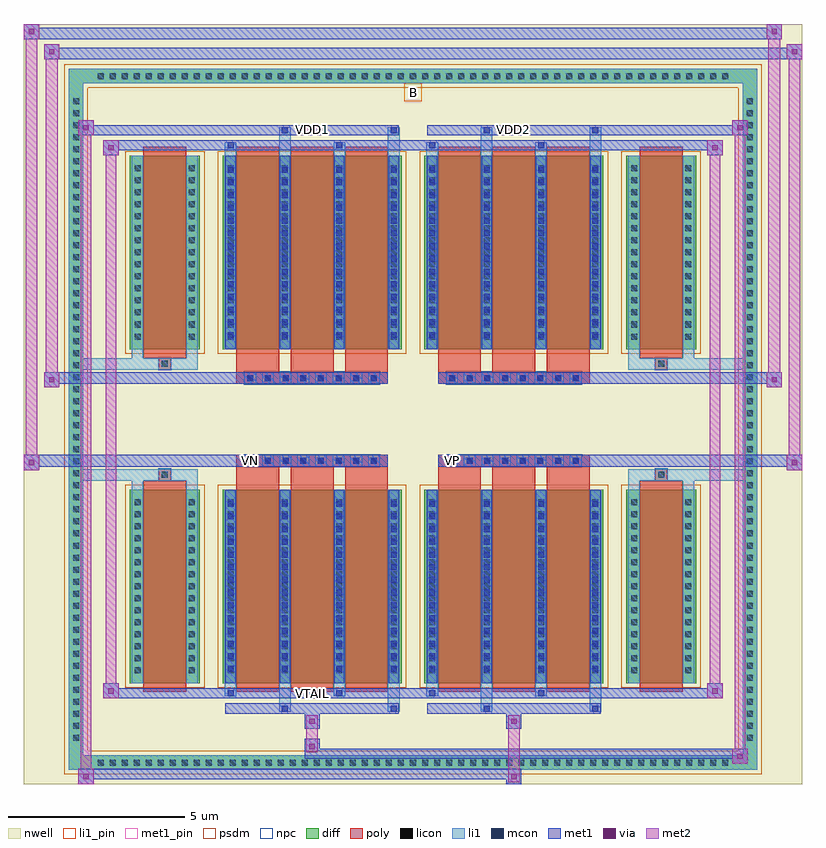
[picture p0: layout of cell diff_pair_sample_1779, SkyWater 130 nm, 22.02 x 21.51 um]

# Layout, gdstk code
import gdstk
lib = gdstk.Library(unit=1e-6, precision=5e-09)
def R(c, l, rs):  # rectangles x0, y0, x1, y1
    for r in rs: c.add(gdstk.rectangle(r[:2], r[2:], *l))
def A(c, l, x, y, w, h, nx, ny, dx, dy):  # array of equal rectangles
    R(c, l, [(x+i*dx, y+j*dy, x+i*dx+w, y+j*dy+h) for i in range(nx) for j in range(ny)])
def P(c, l, *ps):  # polygons
    for p in ps: c.add(gdstk.Polygon(p, *l))
nwell = (64, 20)
diff = (65, 20)
poly = (66, 20)
licon = (66, 44)
li1_pin = (67, 16)
li1 = (67, 20)
mcon = (67, 44)
met1_pin = (68, 16)
met1 = (68, 20)
via = (68, 44)
met2 = (69, 20)
psdm = (94, 20)
npc = (95, 20)

diff_pair_sample_1779 = lib.new_cell('diff_pair_sample_1779')
R(diff_pair_sample_1779, nwell, [(-11.01,-10.32,11.01,11.19), (-8.33,-8.51,-0.01,-0.805), (0.01,-8.51,8.33,-0.805), (-8.33,0.805,-0.01,8.51), (0.01,0.805,8.33,8.51)])
A(diff_pair_sample_1779, diff, -9.045, -9.92, 0.41, 0.41, 53, 2, 0.34, 19.43)
A(diff_pair_sample_1779, diff, -9.74, -9.215, 0.41, 0.41, 1, 54, 0, 0.34)
A(diff_pair_sample_1779, diff, 9.33, -9.215, 0.41, 0.41, 1, 54, 0, 0.34)
R(diff_pair_sample_1779, diff, [(-9.045,-9.92,9.045,-9.51), (-9.74,-9.215,-9.33,9.215), (9.33,-9.215,9.74,9.215), (-8.02,-7.465,-6.03,-1.985), (-5.39,-7.465,-0.32,-1.985), (0.32,-7.465,5.39,-1.985), (6.03,-7.465,8.02,-1.985), (-8.02,1.985,-6.03,7.465), (-5.39,1.985,-0.32,7.465), (0.32,1.985,5.39,7.465), (6.03,1.985,8.02,7.465), (-9.045,9.51,9.045,9.92)])
P(diff_pair_sample_1779, diff, [(9.74,9.92),(-9.74,9.92),(-9.74,-9.51),(-9.33,-9.51),(-9.33,9.51),(9.33,9.51),(9.33,-9.51),(-9.33,-9.51),(-9.74,-9.51),(-9.74,-9.92),(9.74,-9.92)])
A(diff_pair_sample_1779, poly, -5, -7.715, 1.21, 5.98, 3, 2, 1.54, 9.45)
A(diff_pair_sample_1779, poly, 0.71, -7.715, 1.21, 5.98, 3, 2, 1.54, 9.45)
A(diff_pair_sample_1779, poly, -5, -1.735, 1.21, 0.4, 3, 2, 1.54, 3.07)
A(diff_pair_sample_1779, poly, 0.71, -1.735, 1.21, 0.4, 3, 2, 1.54, 3.07)
A(diff_pair_sample_1779, poly, -4.77, -1.335, 0.33, 0.33, 8, 2, 0.5, 2.34)
A(diff_pair_sample_1779, poly, 0.94, -1.335, 0.33, 0.33, 8, 2, 0.5, 2.34)
R(diff_pair_sample_1779, poly, [(-7.63,-7.715,-6.42,-1.735), (6.42,-7.715,7.63,-1.735), (-7.19,-1.735,-6.86,-1.405), (-7.19,-1.735,-6.86,-1.405), (6.86,-1.735,7.19,-1.405), (6.86,-1.735,7.19,-1.405), (-5,-1.335,-0.71,-1.005), (0.71,-1.335,5,-1.005), (-5,1.005,-0.71,1.335), (0.71,1.005,5,1.335), (-7.19,1.405,-6.86,1.735), (-7.19,1.405,-6.86,1.735), (6.86,1.405,7.19,1.735), (6.86,1.405,7.19,1.735), (-7.63,1.735,-6.42,7.715), (6.42,1.735,7.63,7.715)])
A(diff_pair_sample_1779, licon, -8.925, -9.8, 0.17, 0.17, 53, 2, 0.34, 19.43)
A(diff_pair_sample_1779, licon, -9.62, -9.095, 0.17, 0.17, 1, 54, 0, 0.34)
A(diff_pair_sample_1779, licon, 9.45, -9.095, 0.17, 0.17, 1, 54, 0, 0.34)
A(diff_pair_sample_1779, licon, -7.88, -7.19, 0.17, 0.17, 1, 15, 0, 0.34)
A(diff_pair_sample_1779, licon, -6.34, -7.19, 0.17, 0.17, 1, 15, 0, 0.34)
A(diff_pair_sample_1779, licon, -5.25, -7.19, 0.17, 0.17, 4, 15, 1.54, 0.34)
A(diff_pair_sample_1779, licon, 0.46, -7.19, 0.17, 0.17, 4, 15, 1.54, 0.34)
A(diff_pair_sample_1779, licon, 6.17, -7.19, 0.17, 0.17, 1, 15, 0, 0.34)
A(diff_pair_sample_1779, licon, 7.71, -7.19, 0.17, 0.17, 1, 15, 0, 0.34)
A(diff_pair_sample_1779, licon, -4.69, -1.255, 0.17, 0.17, 8, 2, 0.5, 2.34)
A(diff_pair_sample_1779, licon, 1.02, -1.255, 0.17, 0.17, 8, 2, 0.5, 2.34)
A(diff_pair_sample_1779, licon, -7.88, 2.26, 0.17, 0.17, 1, 15, 0, 0.34)
A(diff_pair_sample_1779, licon, -6.34, 2.26, 0.17, 0.17, 1, 15, 0, 0.34)
A(diff_pair_sample_1779, licon, -5.25, 2.26, 0.17, 0.17, 4, 15, 1.54, 0.34)
A(diff_pair_sample_1779, licon, 0.46, 2.26, 0.17, 0.17, 4, 15, 1.54, 0.34)
A(diff_pair_sample_1779, licon, 6.17, 2.26, 0.17, 0.17, 1, 15, 0, 0.34)
A(diff_pair_sample_1779, licon, 7.71, 2.26, 0.17, 0.17, 1, 15, 0, 0.34)
R(diff_pair_sample_1779, licon, [(-7.11,-1.655,-6.94,-1.485), (6.94,-1.655,7.11,-1.485), (-7.11,1.485,-6.94,1.655), (6.94,1.485,7.11,1.655)])
R(diff_pair_sample_1779, li1_pin, [(-0.25,9.01,0.25,9.51)])
A(diff_pair_sample_1779, li1, -9.005, -9.88, 0.33, 0.33, 53, 2, 0.34, 19.43)
A(diff_pair_sample_1779, li1, -9.7, -9.175, 0.33, 0.33, 1, 54, 0, 0.34)
A(diff_pair_sample_1779, li1, 9.37, -9.175, 0.33, 0.33, 1, 54, 0, 0.34)
A(diff_pair_sample_1779, li1, -5.33, -7.465, 0.33, 5.48, 4, 2, 1.54, 9.45)
A(diff_pair_sample_1779, li1, 0.38, -7.465, 0.33, 5.48, 4, 2, 1.54, 9.45)
A(diff_pair_sample_1779, li1, -7.96, -7.27, 0.33, 0.33, 1, 15, 0, 0.34)
A(diff_pair_sample_1779, li1, -6.42, -7.27, 0.33, 0.33, 1, 15, 0, 0.34)
A(diff_pair_sample_1779, li1, -5.33, -7.27, 0.33, 0.33, 4, 15, 1.54, 0.34)
A(diff_pair_sample_1779, li1, 0.38, -7.27, 0.33, 0.33, 4, 15, 1.54, 0.34)
A(diff_pair_sample_1779, li1, 6.09, -7.27, 0.33, 0.33, 1, 15, 0, 0.34)
A(diff_pair_sample_1779, li1, 7.63, -7.27, 0.33, 0.33, 1, 15, 0, 0.34)
A(diff_pair_sample_1779, li1, -5.25, -7.15, 0.17, 0.17, 4, 14, 1.54, 0.36)
A(diff_pair_sample_1779, li1, -5.25, -7.15, 0.17, 4.85, 4, 2, 1.54, 9.45)
A(diff_pair_sample_1779, li1, 0.46, -7.15, 0.17, 0.17, 4, 14, 1.54, 0.36)
A(diff_pair_sample_1779, li1, 0.46, -7.15, 0.17, 4.85, 4, 2, 1.54, 9.45)
A(diff_pair_sample_1779, li1, -4.77, -1.335, 0.33, 0.33, 8, 2, 0.5, 2.34)
A(diff_pair_sample_1779, li1, 0.94, -1.335, 0.33, 0.33, 8, 2, 0.5, 2.34)
A(diff_pair_sample_1779, li1, -7.96, 2.18, 0.33, 0.33, 1, 15, 0, 0.34)
A(diff_pair_sample_1779, li1, -6.42, 2.18, 0.33, 0.33, 1, 15, 0, 0.34)
A(diff_pair_sample_1779, li1, -5.33, 2.18, 0.33, 0.33, 4, 15, 1.54, 0.34)
A(diff_pair_sample_1779, li1, 0.38, 2.18, 0.33, 0.33, 4, 15, 1.54, 0.34)
A(diff_pair_sample_1779, li1, 6.09, 2.18, 0.33, 0.33, 1, 15, 0, 0.34)
A(diff_pair_sample_1779, li1, 7.63, 2.18, 0.33, 0.33, 1, 15, 0, 0.34)
A(diff_pair_sample_1779, li1, -5.25, 2.3, 0.17, 0.17, 4, 14, 1.54, 0.36)
A(diff_pair_sample_1779, li1, 0.46, 2.3, 0.17, 0.17, 4, 14, 1.54, 0.36)
R(diff_pair_sample_1779, li1, [(-9.74,-9.92,-9.33,-9.51), (-9.74,-9.92,-9.33,-9.51), (-9.33,-9.92,9.33,-9.51), (9.33,-9.92,9.74,-9.51), (9.33,-9.92,9.74,-9.51), (-9.74,-9.51,-9.33,9.51), (9.33,-9.51,9.74,9.51), (-3.79,-8.27,-3.46,-7.465), (-3.71,-8.27,-3.54,-8.1), (-0.71,-8.27,-0.38,-7.465), (-0.63,-8.27,-0.46,-8.1), (1.92,-8.27,2.25,-7.465), (2,-8.27,2.17,-8.1), (5,-8.27,5.33,-7.465), (5.08,-8.27,5.25,-8.1), (-5.33,-7.84,-5,-7.465), (-5.25,-7.84,-5.08,-7.67), (-2.25,-7.84,-1.92,-7.465), (-2.17,-7.84,-2,-7.67), (0.38,-7.84,0.71,-7.465), (0.46,-7.84,0.63,-7.67), (3.46,-7.84,3.79,-7.465), (3.54,-7.84,3.71,-7.67), (-7.96,-7.465,-7.63,-1.985), (-6.42,-7.465,-6.09,-1.985), (6.09,-7.465,6.42,-1.985), (7.63,-7.465,7.96,-1.985), (-7.96,-1.985,-7.63,-1.405), (-6.42,-1.985,-6.09,-1.405), (6.09,-1.985,6.42,-1.405), (7.63,-1.985,7.96,-1.405), (-9.74,-1.735,-7.19,-1.405), (-7.96,-1.735,-7.19,-1.405), (-7.19,-1.735,-6.86,-1.405), (-6.86,-1.735,-6.09,-1.405), (6.09,-1.735,6.86,-1.405), (6.86,-1.735,7.19,-1.405), (6.86,-1.735,9.74,-1.405), (7.19,-1.735,7.96,-1.405), (-9.74,1.405,-7.19,1.735), (-7.96,1.405,-7.19,1.735), (-7.96,1.405,-7.63,1.985), (-7.19,1.405,-6.86,1.735), (-6.86,1.405,-6.09,1.735), (-6.42,1.405,-6.09,1.985), (6.09,1.405,6.86,1.735), (6.09,1.405,6.42,1.985), (6.86,1.405,7.19,1.735), (6.86,1.405,9.74,1.735), (7.19,1.405,7.96,1.735), (7.63,1.405,7.96,1.985), (-7.96,1.985,-7.63,7.465), (-6.42,1.985,-6.09,7.465), (6.09,1.985,6.42,7.465), (7.63,1.985,7.96,7.465), (-5.33,7.465,-5,7.84), (-3.79,7.465,-3.46,8.27), (-2.25,7.465,-1.92,7.84), (-0.71,7.465,-0.38,8.27), (0.38,7.465,0.71,7.84), (1.92,7.465,2.25,8.27), (3.46,7.465,3.79,7.84), (5,7.465,5.33,8.27), (-5.25,7.67,-5.08,7.84), (-2.17,7.67,-2,7.84), (0.46,7.67,0.63,7.84), (3.54,7.67,3.71,7.84), (-3.71,8.1,-3.54,8.27), (-0.63,8.1,-0.46,8.27), (2,8.1,2.17,8.27), (5.08,8.1,5.25,8.27), (-9.74,9.51,-9.33,9.92), (-9.74,9.51,-9.33,9.92), (-9.33,9.51,9.33,9.92), (9.33,9.51,9.74,9.92), (9.33,9.51,9.74,9.92)])
A(diff_pair_sample_1779, mcon, -5.25, -7.15, 0.17, 0.17, 4, 14, 1.54, 0.36)
A(diff_pair_sample_1779, mcon, 0.46, -7.15, 0.17, 0.17, 4, 14, 1.54, 0.36)
A(diff_pair_sample_1779, mcon, -4.69, -1.255, 0.17, 0.17, 8, 2, 0.5, 2.34)
A(diff_pair_sample_1779, mcon, 1.02, -1.255, 0.17, 0.17, 8, 2, 0.5, 2.34)
A(diff_pair_sample_1779, mcon, -5.25, 2.3, 0.17, 0.17, 4, 14, 1.54, 0.36)
A(diff_pair_sample_1779, mcon, 0.46, 2.3, 0.17, 0.17, 4, 14, 1.54, 0.36)
R(diff_pair_sample_1779, mcon, [(-3.71,-8.27,-3.54,-8.1), (-0.63,-8.27,-0.46,-8.1), (2,-8.27,2.17,-8.1), (5.08,-8.27,5.25,-8.1), (-5.25,-7.84,-5.08,-7.67), (-2.17,-7.84,-2,-7.67), (0.46,-7.84,0.63,-7.67), (3.54,-7.84,3.71,-7.67), (-5.25,7.67,-5.08,7.84), (-2.17,7.67,-2,7.84), (0.46,7.67,0.63,7.84), (3.54,7.67,3.71,7.84), (-3.71,8.1,-3.54,8.27), (-0.63,8.1,-0.46,8.27), (2,8.1,2.17,8.27), (5.08,8.1,5.25,8.27)])
R(diff_pair_sample_1779, met1_pin, [(-2.99,-7.88,-2.72,-7.61), (-4.74,-1.295,-4.47,-1.025), (0.97,-1.295,1.24,-1.025), (-2.99,8.06,-2.72,8.33), (2.72,8.06,2.99,8.33)])
A(diff_pair_sample_1779, met1, -5.31, -7.465, 0.29, 5.48, 4, 2, 1.54, 9.45)
A(diff_pair_sample_1779, met1, 0.4, -7.465, 0.29, 5.48, 4, 2, 1.54, 9.45)
A(diff_pair_sample_1779, met1, -5.31, -7.21, 0.29, 0.29, 4, 14, 1.54, 0.36)
A(diff_pair_sample_1779, met1, 0.4, -7.21, 0.29, 0.29, 4, 14, 1.54, 0.36)
A(diff_pair_sample_1779, met1, -4.75, -1.315, 0.29, 0.29, 8, 2, 0.5, 2.34)
A(diff_pair_sample_1779, met1, 0.96, -1.315, 0.29, 0.29, 8, 2, 0.5, 2.34)
A(diff_pair_sample_1779, met1, -5.31, 2.24, 0.29, 0.29, 4, 14, 1.54, 0.36)
A(diff_pair_sample_1779, met1, 0.4, 2.24, 0.29, 0.29, 4, 14, 1.54, 0.36)
R(diff_pair_sample_1779, met1, [(-9.47,-10.32,-9.04,-9.89), (2.64,-10.32,3.07,-9.89), (-9.47,-10.18,3.07,-9.89), (9.04,-9.75,9.47,-9.32), (-3.07,-9.61,9.47,-9.32), (-3.07,-9.47,-2.64,-9.04), (-3.07,-8.76,-2.64,-8.33), (2.64,-8.76,3.07,-8.33), (-5.31,-8.33,-0.4,-8.04), (-3.77,-8.33,-3.48,-8.04), (-0.69,-8.33,-0.4,-8.04), (0.4,-8.33,5.31,-8.04), (1.94,-8.33,2.23,-8.04), (5.02,-8.33,5.31,-8.04), (-8.76,-7.9,-8.33,-7.47), (-8.76,-7.9,-5.31,-7.61), (-5.31,-7.9,-5.02,-7.61), (-5.31,-7.9,-0.4,-7.61), (-2.23,-7.9,-1.94,-7.61), (-0.4,-7.9,0.4,-7.61), (0.4,-7.9,0.69,-7.61), (0.4,-7.9,5.31,-7.61), (3.48,-7.9,3.77,-7.61), (5.31,-7.9,8.76,-7.61), (8.33,-7.9,8.76,-7.47), (-11.01,-1.435,-10.58,-1.005), (10.58,-1.435,11.01,-1.005), (-11.01,-1.335,-0.71,-1.005), (-5,-1.335,-0.71,-1.005), (0.71,-1.335,5,-1.005), (0.71,-1.335,11.01,-1.005), (-10.44,0.905,-10.01,1.335), (10.01,0.905,10.44,1.335), (-10.44,1.005,-5,1.335), (-5,1.005,-0.71,1.335), (0.71,1.005,5,1.335), (5,1.005,10.44,1.335), (-8.76,7.47,-8.33,7.9), (8.33,7.47,8.76,7.9), (-8.76,7.61,-5.31,7.9), (-5.31,7.61,-5.02,7.9), (-5.31,7.61,-0.4,7.9), (-2.23,7.61,-1.94,7.9), (-0.4,7.61,0.4,7.9), (0.4,7.61,0.69,7.9), (0.4,7.61,5.31,7.9), (3.48,7.61,3.77,7.9), (5.31,7.61,8.76,7.9), (-9.47,8.04,-9.04,8.47), (-9.47,8.04,-5.31,8.33), (-5.31,8.04,-0.4,8.33), (-3.77,8.04,-3.48,8.33), (-0.69,8.04,-0.4,8.33), (0.4,8.04,5.31,8.33), (1.94,8.04,2.23,8.33), (5.02,8.04,5.31,8.33), (5.31,8.04,9.47,8.33), (9.04,8.04,9.47,8.47), (-10.44,10.19,-10.01,10.62), (-10.44,10.19,-8.33,10.52), (-8.33,10.19,8.33,10.52), (8.33,10.19,11.01,10.52), (10.58,10.19,11.01,10.62), (-11.01,10.76,-10.58,11.19), (-11.01,10.76,-8.33,11.09), (-8.33,10.76,8.33,11.09), (8.33,10.76,10.44,11.09), (10.01,10.76,10.44,11.19)])
R(diff_pair_sample_1779, via, [(-9.33,-10.18,-9.18,-10.03), (2.78,-10.18,2.93,-10.03), (9.18,-9.61,9.33,-9.46), (-2.93,-9.33,-2.78,-9.18), (-2.93,-8.62,-2.78,-8.47), (2.78,-8.62,2.93,-8.47), (-8.62,-7.76,-8.47,-7.61), (8.47,-7.76,8.62,-7.61), (-10.87,-1.295,-10.72,-1.145), (10.72,-1.295,10.87,-1.145), (-10.3,1.045,-10.15,1.195), (10.15,1.045,10.3,1.195), (-8.62,7.61,-8.47,7.76), (8.47,7.61,8.62,7.76), (-9.33,8.18,-9.18,8.33), (9.18,8.18,9.33,8.33), (-10.3,10.33,-10.15,10.48), (10.72,10.33,10.87,10.48), (-10.87,10.9,-10.72,11.05), (10.15,10.9,10.3,11.05)])
R(diff_pair_sample_1779, met2, [(-9.47,-10.32,-9.04,-9.89), (-9.4,-10.32,-9.11,8.47), (-9.11,-10.32,-9.04,-9.89), (-9.42,-10.27,-9.09,-9.94), (2.69,-10.27,3.02,-9.94), (2.69,-9.94,3.02,-8.71), (9.04,-9.75,9.47,-9.32), (9.11,-9.75,9.4,8.47), (9.4,-9.75,9.47,-9.32), (9.09,-9.7,9.42,-9.37), (-3.02,-9.42,-2.69,-9.09), (-3.02,-9.09,-2.69,-8.71), (-3.02,-8.71,-2.69,-8.38), (2.69,-8.71,3.02,-8.38), (-8.76,-7.9,-8.33,-7.47), (-8.69,-7.9,-8.4,7.9), (-8.4,-7.9,-8.33,-7.47), (8.33,-7.9,8.76,-7.47), (8.4,-7.9,8.69,7.9), (8.69,-7.9,8.76,-7.47), (-8.71,-7.85,-8.38,-7.52), (8.38,-7.85,8.71,-7.52), (-11.01,-1.435,-10.58,-1.005), (-10.96,-1.435,-10.63,11.19), (-10.63,-1.435,-10.58,-1.005), (10.58,-1.435,11.01,-1.005), (10.63,-1.435,10.96,10.62), (10.96,-1.435,11.01,-1.005), (-10.96,-1.385,-10.63,-1.055), (10.63,-1.385,10.96,-1.055), (-10.44,0.905,-10.01,1.335), (-10.39,0.905,-10.06,10.62), (-10.06,0.905,-10.01,1.335), (10.01,0.905,10.44,1.335), (10.06,0.905,10.39,11.19), (10.39,0.905,10.44,1.335), (-10.39,0.955,-10.06,1.285), (10.06,0.955,10.39,1.285), (-8.76,7.47,-8.33,7.9), (-8.4,7.47,-8.33,7.9), (8.33,7.47,8.76,7.9), (8.69,7.47,8.76,7.9), (-8.71,7.52,-8.38,7.85), (8.38,7.52,8.71,7.85), (-9.47,8.04,-9.04,8.47), (-9.11,8.04,-9.04,8.47), (9.04,8.04,9.47,8.47), (9.4,8.04,9.47,8.47), (-9.42,8.09,-9.09,8.42), (9.09,8.09,9.42,8.42), (-10.44,10.19,-10.01,10.62), (-10.06,10.19,-10.01,10.62), (10.58,10.19,11.01,10.62), (10.96,10.19,11.01,10.62), (-10.39,10.24,-10.06,10.57), (10.63,10.24,10.96,10.57), (-11.01,10.76,-10.58,11.19), (-10.63,10.76,-10.58,11.19), (10.01,10.76,10.44,11.19), (10.39,10.76,10.44,11.19), (-10.96,10.81,-10.63,11.14), (10.06,10.81,10.39,11.14)])
R(diff_pair_sample_1779, psdm, [(-8.15,-7.595,-5.9,-1.855), (-5.52,-7.595,-0.19,-1.855), (0.19,-7.595,5.52,-1.855), (5.9,-7.595,8.15,-1.855), (-8.15,1.855,-5.9,7.595), (-5.52,1.855,-0.19,7.595), (0.19,1.855,5.52,7.595), (5.9,1.855,8.15,7.595)])
P(diff_pair_sample_1779, psdm, [(9.87,10.05),(-9.87,10.05),(-9.87,-9.38),(-9.2,-9.38),(-9.2,9.38),(9.2,9.38),(9.2,-9.38),(-9.2,-9.38),(-9.87,-9.38),(-9.87,-10.05),(9.87,-10.05)])
A(diff_pair_sample_1779, npc, -4.79, -1.355, 0.37, 0.37, 8, 2, 0.5, 2.34)
A(diff_pair_sample_1779, npc, 0.92, -1.355, 0.37, 0.37, 8, 2, 0.5, 2.34)
R(diff_pair_sample_1779, npc, [(-7.21,-1.755,-6.84,-1.385), (6.84,-1.755,7.21,-1.385), (-4.79,-1.355,-3.92,-0.985), (-4.79,-1.355,-3.92,-0.985), (-4.29,-1.355,-3.42,-0.985), (-4.29,-1.355,-3.42,-0.985), (-3.79,-1.355,-2.92,-0.985), (-3.79,-1.355,-2.92,-0.985), (-3.29,-1.355,-2.42,-0.985), (-3.29,-1.355,-2.42,-0.985), (-2.79,-1.355,-1.92,-0.985), (-2.79,-1.355,-1.92,-0.985), (-2.29,-1.355,-1.42,-0.985), (-2.29,-1.355,-1.42,-0.985), (-1.79,-1.355,-0.92,-0.985), (-1.79,-1.355,-0.92,-0.985), (0.92,-1.355,1.79,-0.985), (0.92,-1.355,1.79,-0.985), (1.42,-1.355,2.29,-0.985), (1.42,-1.355,2.29,-0.985), (1.92,-1.355,2.79,-0.985), (1.92,-1.355,2.79,-0.985), (2.42,-1.355,3.29,-0.985), (2.42,-1.355,3.29,-0.985), (2.92,-1.355,3.79,-0.985), (2.92,-1.355,3.79,-0.985), (3.42,-1.355,4.29,-0.985), (3.42,-1.355,4.29,-0.985), (3.92,-1.355,4.79,-0.985), (3.92,-1.355,4.79,-0.985), (-4.79,0.985,-3.92,1.355), (-4.79,0.985,-3.92,1.355), (-4.29,0.985,-3.42,1.355), (-4.29,0.985,-3.42,1.355), (-3.79,0.985,-2.92,1.355), (-3.79,0.985,-2.92,1.355), (-3.29,0.985,-2.42,1.355), (-3.29,0.985,-2.42,1.355), (-2.79,0.985,-1.92,1.355), (-2.79,0.985,-1.92,1.355), (-2.29,0.985,-1.42,1.355), (-2.29,0.985,-1.42,1.355), (-1.79,0.985,-0.92,1.355), (-1.79,0.985,-0.92,1.355), (0.92,0.985,1.79,1.355), (0.92,0.985,1.79,1.355), (1.42,0.985,2.29,1.355), (1.42,0.985,2.29,1.355), (1.92,0.985,2.79,1.355), (1.92,0.985,2.79,1.355), (2.42,0.985,3.29,1.355), (2.42,0.985,3.29,1.355), (2.92,0.985,3.79,1.355), (2.92,0.985,3.79,1.355), (3.42,0.985,4.29,1.355), (3.42,0.985,4.29,1.355), (3.92,0.985,4.79,1.355), (3.92,0.985,4.79,1.355), (-7.21,1.385,-6.84,1.755), (6.84,1.385,7.21,1.755)])
diff_pair_sample_1779.add(gdstk.Label('VTAIL', (-2.855,-7.745), layer=68, texttype=5))
diff_pair_sample_1779.add(gdstk.Label('VN', (-4.605,-1.16), layer=68, texttype=5))
diff_pair_sample_1779.add(gdstk.Label('VP', (1.105,-1.16), layer=68, texttype=5))
diff_pair_sample_1779.add(gdstk.Label('B', (0,9.26), layer=67, texttype=5))
diff_pair_sample_1779.add(gdstk.Label('VDD2', (2.855,8.195), layer=68, texttype=5))
diff_pair_sample_1779.add(gdstk.Label('VDD1', (-2.855,8.195), layer=68, texttype=5))

lib.write_gds('diff_pair_sample_1779.gds')
